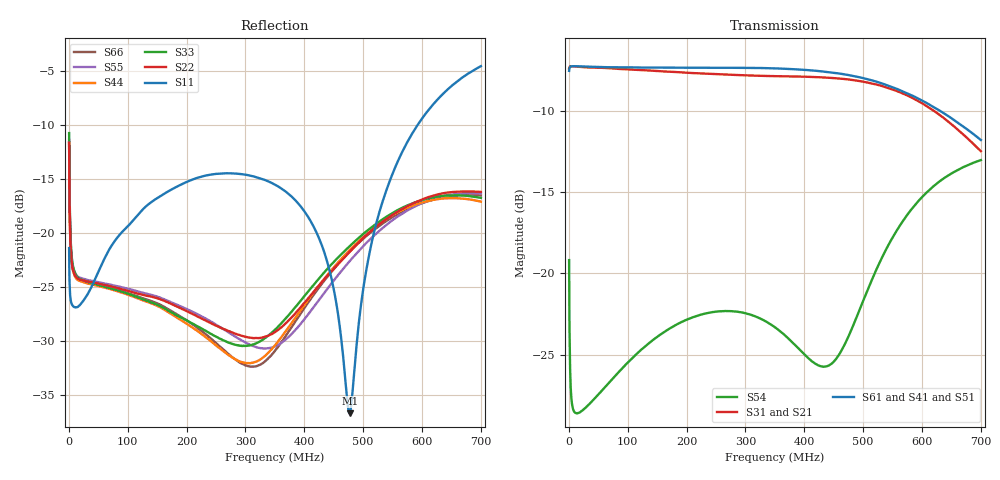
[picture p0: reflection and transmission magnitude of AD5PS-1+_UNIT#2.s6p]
!Mini-Circuits Laboratory
!S-Parameters
!Model:AD5PS-1+
!Run/Lot/Date Code:MU38160//0951
!DATA FOR:UNIT#2
!Fixture/SN/Due:90-1-20-122/63678/01-15-11
!Connection:PORT-1-pin<1>;PORT-2-pin<8>;PORT-3-pin<7>;PORT-4-pin<6>;PORT-5-pin<5>;PORT-6-pin<4>
!Created: 04-21-2010 at 11:56 AM
!MODEL: AD5PS-1+
!S/N: Unit 2
#MHz S dB R 50
!Frequency  S11 dB  S11 DEG  S12 dB  S12 DEG  S13 dB  S13 DEG  S14 dB  S14 DEG  S15 dB  S15 DEG  S16 dB  S16 DEG
!  S21 dB  S21 DEG  S22 dB  S22 DEG  S23 dB  S23 DEG  S24 dB  S24 DEG  S25 dB  S25 DEG  S26 dB  S26 DEG
!  S31 dB  S31 DEG  S32 dB  S32 DEG  S33 dB  S33 DEG  S34 dB  S34 DEG  S35 dB  S35 DEG  S36 dB  S36 DEG
!  S41 dB  S41 DEG  S42 dB  S42 DEG  S43 dB  S43 DEG  S44 dB  S44 DEG  S45 dB  S45 DEG  S46 dB  S46 DEG
!  S51 dB  S51 DEG  S52 dB  S52 DEG  S53 dB  S53 DEG  S54 dB  S54 DEG  S55 dB  S55 DEG  S56 dB  S56 DEG
!  S61 dB  S61 DEG  S62 dB  S62 DEG  S63 dB  S63 DEG  S64 dB  S64 DEG  S65 dB  S65 DEG  S66 dB  S66 DEG
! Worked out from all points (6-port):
!   707 points, 300 kHz to 700 MHz, reference 50 ohm
!   strongest paths, dB at 300 kHz, 170 MHz, 347 MHz, 524 MHz, 700 MHz:
!     S61: -7.5, -7.3, -7.3, -8.2, -11.8
!     S41: -7.4, -7.5, -7.7, -8.0, -11.8
!     S51: -7.4, -7.5, -7.7, -8.0, -12.0
!     S31: -7.3, -7.5, -7.8, -8.4, -12.5
!     S21: -7.4, -7.6, -8.0, -8.7, -12.8
!     S54: -19.2, -23.4, -23.2, -19.6, -13.0
!   lowest |S11| = -36.7 dB at 477 MHz (marker M1), VSWR 1.03, Z = 50.3 + j1.43 ohm
!   |S11| at or under -10 dB: start of sweep to 592.6 MHz
